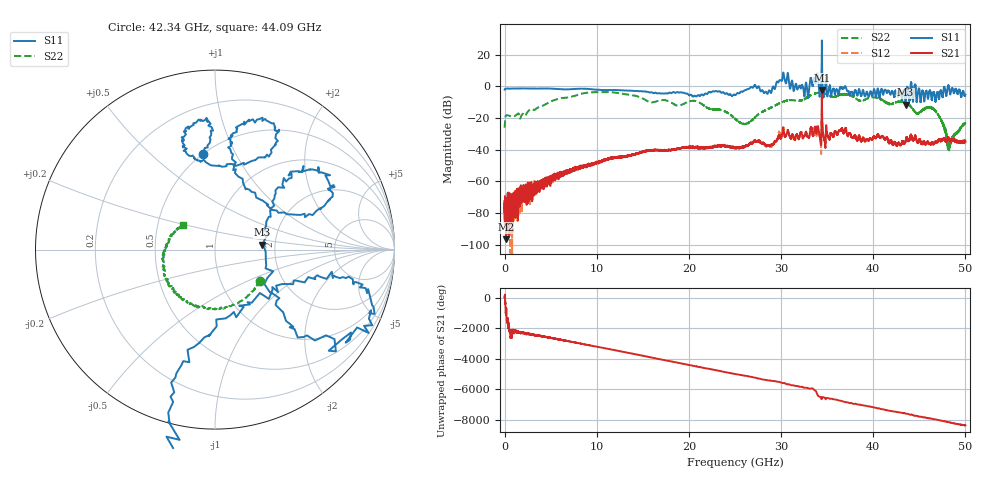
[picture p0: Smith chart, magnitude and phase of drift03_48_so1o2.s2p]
!Created with skrf (http://scikit-rf.org).
# Hz S RI R 50.0
!freq ReS11 ImS11 ReS21 ImS21 ReS12 ImS12 ReS22 ImS22
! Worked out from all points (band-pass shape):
!   10000 points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, 5.3 MHz to 50 GHz, reference 50 ohm
!   highest |S21| = -2.35 dB at 34.43 GHz (marker M1); lowest = -96.7 dB at 155.3 MHz (marker M2)
!   |S21| within 3 dB of the highest: 34.42765 GHz to 34.4345 GHz (6.852 MHz wide, 0.0199 % of centre)
!   lowest |S11| = -11.5 dB at 43.52 GHz (marker M3), VSWR 1.72, Z = 85.5 + j5.03 ohm
!   |S11| at or under -10 dB: 43.48937 GHz to 43.54183 GHz (52.45 MHz wide, 0.121 % of centre); 44.70993 GHz to 44.7101 GHz (165.3 kHz wide, 0.00037 % of centre); 45.13987 GHz to 45.1402 GHz (332.2 kHz wide, 0.000736 % of centre)
!   |S22| runs from -40.5 to -3.6 dB; largest |S21 - S12| = 0.25
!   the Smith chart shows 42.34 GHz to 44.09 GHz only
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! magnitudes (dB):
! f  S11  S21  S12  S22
! 5.3 MHz  -2.1  -74.2  -72.8  -26.1
! 155.3 MHz  -1.4  -96.7  -85.7  -18.4
! 8.34 GHz  -1.5  -50.6  -50.9  -4.7
! 16.67 GHz  -4.4  -40.3  -40.3  -9.2
! 20.75 GHz  -6.3  -38.6  -38.6  -9.3
! 25.01 GHz  -5.5  -38.8  -39.0  -20.6
! 26.23 GHz  -2.2  -37.7  -37.7  -23.7
! 27.37 GHz  -1.1  -34.8  -34.9  -18.5
! 28.72 GHz  -2.5  -37.6  -37.5  -14.0
! 30.14 GHz  4.4  -29.6  -29.8  -9.9
! 32.74 GHz  2.0  -29.5  -29.3  -7.4
! 33.34 GHz  2.6  -27.5  -27.7  -5.3
! 33.82 GHz  4.0  -29.1  -29.4  -4.2
! 34.43 GHz  29.0  -2.3  -4.5  -3.9
! 36.48 GHz  -0.6  -28.0  -27.9  -5.2
! 41.67 GHz  -3.0  -35.6  -35.5  -11.0
! 43.52 GHz  -11.5  -34.4  -34.7  -10.4
! 44.74 GHz  -9.1  -34.9  -34.5  -17.1
! 46.64 GHz  -4.7  -35.6  -35.6  -15.3
! 47.5 GHz  -6.4  -34.0  -33.6  -22.7
! 48.24 GHz  -1.3  -33.7  -33.2  -37.4
! 50 GHz  -5.2  -35.3  -35.2  -23.2
